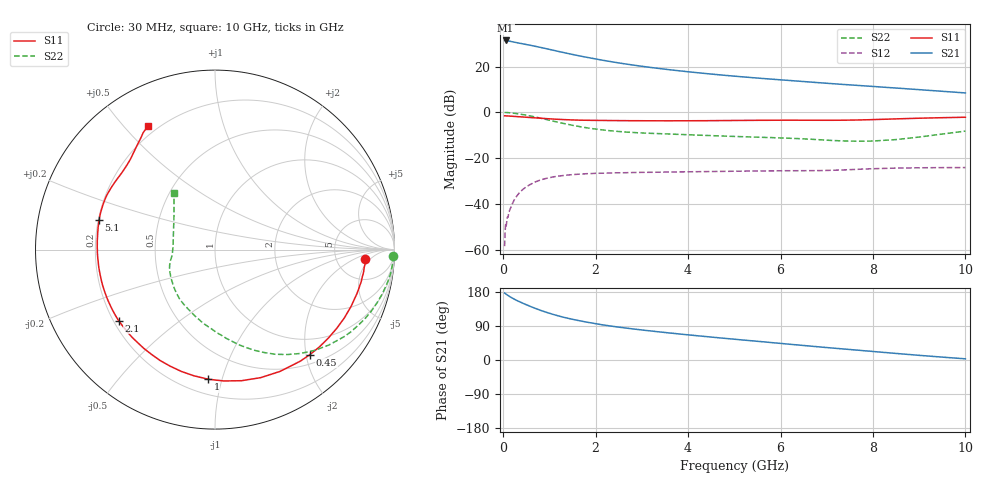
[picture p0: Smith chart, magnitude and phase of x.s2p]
! (c) 2012  Infineon Technologies AG, Munich
! Infineon Technologies  Discrete & RF Semiconductors
! BFP740F
! VCE =  1.5 V,  IC =  15 mA
! Common Emitter S-Parameters:  Oct 2012
# GHz  S  MA  R  50
!  f  S11  S21  S12  S22
! GHz  MAG  ANG  MAG  ANG  MAG  ANG  MAG  ANG
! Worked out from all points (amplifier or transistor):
!   99 points, 30 MHz to 10 GHz, reference 50 ohm
!   highest |S21| = 31.4 dB at 50 MHz (marker M1)
!   |S21| within 3 dB of that: start of sweep to 799.2 MHz
!   unconditionally stable (mu >= 1): 6.219 GHz to end of sweep
!   at 350 MHz: K = 0.10, MSG = 32.6 dB, |S12| = -35.1 dB
!   at 3.5 GHz: K = 0.60, MSG = 22.5 dB, |S12| = -26.1 dB
!   at 10 GHz: K = 1.26, MAG = 13.2 dB, |S12| = -24.1 dB
!   lowest NFmin = 0.53 dB at 450 MHz
!   S11 on the Smith chart (normalised r, x): 30 MHz: 10, -4; 450 MHz: 0.67, -2.07; 1 GHz: 0.30, -0.90; 2.1 GHz: 0.22, -0.31; 5.1 GHz: 0.20, +0.12; 10 GHz: 0.16, +0.58
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0.03  0.8401 -3.6  36.91 176.8  0.0012 83.0  0.9911 -2.0
0.05  0.8396 -5.7  37.11 175.0  0.0036 90.3  0.9932 -3.6
0.12  0.8313 -13.9  36.09 169.0  0.0067 85.3  0.9829 -9.1
0.2  0.8216 -22.6  34.69 163.1  0.0102 78.8  0.9644 -14.8
0.3  0.8077 -33.0  33.1 156.8  0.0152 73.9  0.9355 -21.6
0.45  0.7886 -47.9  30.98 148.4  0.0218 65.6  0.8862 -31.0
0.6  0.7693 -61.9  28.94 140.7  0.0272 58.9  0.8282 -39.9
0.7  0.7574 -70.4  27.55 136.0  0.0305 54.8  0.7898 -45.3
0.8  0.7452 -78.6  26.26 131.4  0.0332 51.2  0.7499 -50.5
1  0.7231 -93.1  23.68 123.3  0.0375 44.4  0.6734 -60.0
1.1  0.7125 -99.7  22.49 119.6  0.0393 41.6  0.6369 -64.3
1.3  0.6956 -111.2  20.28 113.0  0.0418 36.8  0.5737 -72.2
1.5  0.6827 -121.1  18.36 107.4  0.0437 32.9  0.5214 -79.2
1.7  0.6742 -129.6  16.7 102.4  0.0451 29.8  0.4788 -85.7
2.1  0.6672 -143.6  14.03 93.7  0.0469 25.0  0.4192 -98.1
2.7  0.6582 -158.4  11.18 83.6  0.0483 20.5  0.3691 -112.0
3.4  0.6548 -171.1  9.003 73.8  0.0495 17.5  0.3425 -123.7
4.2  0.6565 177.3  7.338 64.0  0.0507 15.5  0.319 -133.6
5.1  0.6666 165.7  6.049 53.7  0.0519 14.1  0.296 -144.6
6.7  0.6726 147.0  4.542 36.1  0.0534 13.0  0.2577 -165.2
8.5  0.7205 127.5  3.395 17.3  0.0607 11.7  0.2546 155.2
10  0.7825 118.5  2.656 3.1  0.0624 7.8  0.3899 126.0
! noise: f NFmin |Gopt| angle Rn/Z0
0.45  0.53  0.1  7  0.57
0.9  0.59  0.1  17  0.24
1.5  0.65  0.1  30  0.05
1.9  0.7  0.1  43  0.04
2.4  0.74  0.1  60  0.03
3.5  0.85  0.09  78  0.13
5.5  1.03  0.07  170  0.18
10  1.4  0.38  -111  0.12
